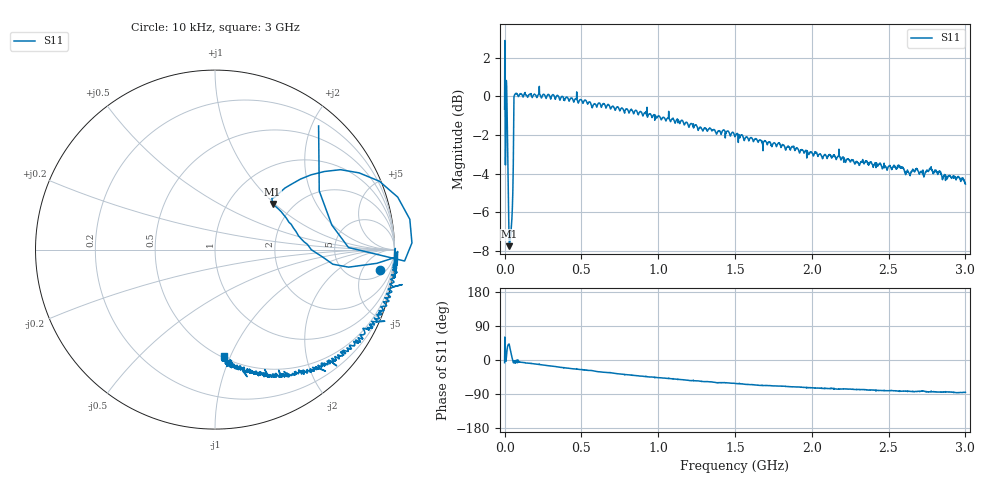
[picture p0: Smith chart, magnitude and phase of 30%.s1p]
# HZ S RI R 50
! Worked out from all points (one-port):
!   2020 points, 10 kHz to 3 GHz, reference 50 ohm
!   lowest |S11| = -7.7 dB at 31.21 MHz (marker M1), VSWR 2.39, Z = 79.1 + j48.5 ohm
!   |S11| at or under -10 dB: nowhere
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10000  0.9195 -0.1127
5953516  0.6505 0.1375
1.635467e7  0.8026 0.4276
1.932643e7  0.6088 0.4351
2.378406e7  0.4287 0.366
2.675582e7  0.3584 0.3155
3.121346e7  0.3211 0.255
3.715698e7  0.3836 0.1921
4.310049e7  0.438 0.119
5.350164e7  0.5656 -0.0191
6.39028e7  1.004 -0.0644
7.133219e7  1.015 -0.0416
7.578983e7  1.017 -0.0104
2.407224e8  0.9661 -0.2207
3.759374e8  0.9403 -0.3396
6.255651e8  0.8084 -0.4952
7.503789e8  0.7348 -0.5486
9.271985e8  0.6774 -0.6471
1.126306e9  0.5497 -0.677
1.378906e9  0.3985 -0.6922
1.500748e9  0.3726 -0.6941
1.667166e9  0.3025 -0.7079
1.875189e9  0.2429 -0.7009
2.251117e9  0.155 -0.6591
2.573552e9  0.0876 -0.6538
2.625558e9  0.0846 -0.6319
2.768203e9  0.0706 -0.6433
3e9  0.0492 -0.5914
